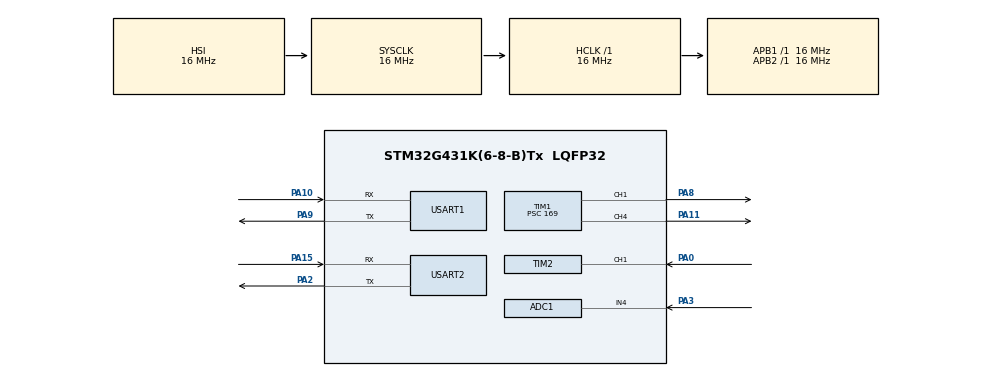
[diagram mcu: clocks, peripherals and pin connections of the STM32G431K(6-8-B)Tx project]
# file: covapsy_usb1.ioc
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ADC1.Channel-0\#ChannelRegularConversion=ADC_CHANNEL_4
ADC1.NbrOfConversionFlag=1
ADC1.OffsetNumber-0\#ChannelRegularConversion=ADC_OFFSET_NONE
ADC1.Rank-0\#ChannelRegularConversion=1
ADC1.SamplingTime-0\#ChannelRegularConversion=ADC_SAMPLETIME_2CYCLES_5
ADC1.master=1
Mcu.Family=STM32G4
Mcu.Name=STM32G431K(6-8-B)Tx
Mcu.Package=LQFP32
NVIC.PriorityGroup=NVIC_PRIORITYGROUP_4
PA0.Signal=S_TIM2_CH1
PA10.Mode=Asynchronous
PA10.Signal=USART1_RX
PA11.Signal=S_TIM1_CH4
PA13.Signal=SYS_JTMS-SWDIO
PA14.Signal=SYS_JTCK-SWCLK
PA15.Mode=Asynchronous
PA15.Signal=USART2_RX
PA2.Mode=Asynchronous
PA2.Signal=USART2_TX
PA3.Mode=IN4-Single-Ended
PA3.Signal=ADC1_IN4
PA8.Signal=S_TIM1_CH1
PA9.Mode=Asynchronous
PA9.Signal=USART1_TX
ProjectManager.HeapSize=0x200
ProjectManager.StackSize=0x400
ProjectManager.TargetToolchain=STM32CubeIDE
RCC.AHBFreq_Value=16000000
RCC.APB1Freq_Value=16000000
RCC.APB1TimFreq_Value=16000000
RCC.APB2Freq_Value=16000000
RCC.APB2TimFreq_Value=16000000
RCC.CortexFreq_Value=16000000
RCC.EXTERNAL_CLOCK_VALUE=12288000
RCC.HCLKFreq_Value=16000000
RCC.HSE_VALUE=8000000
RCC.HSI48_VALUE=48000000
RCC.HSI_VALUE=16000000
RCC.LSE_VALUE=32768
RCC.SYSCLKFreq_VALUE=16000000
RCC.USBFreq_Value=64000000
RCC.VCOOutputFreq_Value=128000000
SH.S_TIM1_CH1.0=TIM1_CH1,PWM Generation1 CH1
SH.S_TIM1_CH4.0=TIM1_CH4,PWM Generation4 CH4
SH.S_TIM2_CH1.0=TIM2_CH1,Input_Capture1_from_TI1
TIM1.Channel-PWM\ Generation1\ CH1=TIM_CHANNEL_1
TIM1.Channel-PWM\ Generation4\ CH4=TIM_CHANNEL_4
TIM1.PeriodNoDither=19999
TIM1.Prescaler=169
TIM1.PulseNoDither_1=1500
TIM1.PulseNoDither_4=1500
TIM2.Channel-Input_Capture1_from_TI1=TIM_CHANNEL_1
USART1.VirtualMode-Asynchronous=VM_ASYNC
USART2.VirtualMode-Asynchronous=VM_ASYNC
VP_SYS_VS_DBSignals.Mode=DisableDeadBatterySignals
VP_TIM1_VS_ClockSourceINT.Mode=Internal
VP_TIM2_VS_ClockSourceINT.Mode=Internal
board=custom

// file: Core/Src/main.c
/* USER CODE BEGIN Header */
/**
  ******************************************************************************
  * @file           : main.c
  * @brief          : Main program body
  ******************************************************************************
  * @attention
  *
  * Copyright (c) 2026 STMicroelectronics.
  * All rights reserved.
  *
  * This software is licensed under terms that can be found in the LICENSE file
  * in the root directory of this software component.
  * If no LICENSE file comes with this software, it is provided AS-IS.
  *
  ******************************************************************************
  */
/* USER CODE END Header */
#include "main.h"
#include "adc.h"
#include "tim.h"
#include "usart.h"
#include "gpio.h"

/* USER CODE BEGIN Includes */
#include "board_if.h"
#include "fw_app.h"
#include "fw_config.h"
/* USER CODE END Includes */

/* USER CODE BEGIN PV */
static fw_app_t app;
static char rx_line[FW_PROTOCOL_LINE_MAX] = {0};
static char tx_line[FW_PROTOCOL_LINE_MAX] = {0};
static fw_lcd_frame_t lcd_frame;
static fw_pwm_output_t pwm = {FW_PWM_PROP_STOP, FW_PWM_STEERING_CENTER};
static fw_telemetry_t telemetry = {0.0f, false, 0u};
static bool watchdog_forced_stop = false;
static bool lcd_seq_valid = false;
static uint32_t now_ms = 0u;
static uint32_t last_tx_ms = 0u;
static uint32_t last_lcd_seq = 0u;
/* USER CODE END PV */

void SystemClock_Config(void);

int main(void)
{

  /* MCU Configuration--------------------------------------------------------*/

  /* Reset of all peripherals, Initializes the Flash interface and the Systick. */
  HAL_Init();

  /* Configure the system clock */
  SystemClock_Config();

  /* Initialize all configured peripherals */
  MX_GPIO_Init();
  MX_ADC1_Init();
  MX_TIM1_Init();
  MX_TIM2_Init();
  MX_USART1_UART_Init();
  MX_USART2_UART_Init();
  /* USER CODE BEGIN 2 */
  Board_Init();
  Board_OledInit();
  now_ms = Board_Millis();
  last_tx_ms = now_ms;
  FwApp_Init(&app, now_ms);
  /* USER CODE END 2 */

  /* Infinite loop */
  while (1)
  {

    /* USER CODE BEGIN 3 */
    now_ms = Board_Millis();

    if (Board_UsbReadLine(rx_line, sizeof(rx_line)))
    {
      (void)FwApp_OnCommandLine(&app, rx_line, now_ms);
    }

    telemetry.wheel_speed_m_s = Board_ReadWheelSpeedMps();
    telemetry.rear_obstacle = Board_ReadRearObstacle();
    telemetry.flags = 0u;

    FwApp_BuildOutputs(
        &app,
        &telemetry,
        now_ms,
        &pwm,
        tx_line,
        sizeof(tx_line),
        &watchdog_forced_stop);

    Board_SetPropulsionDuty(pwm.propulsion_duty);
    Board_SetSteeringDuty(pwm.steering_duty);

    if ((now_ms - last_tx_ms) >= FW_TELEMETRY_PERIOD_MS)
    {
      Board_UsbWriteLine(tx_line);
      last_tx_ms = now_ms;
    }

    if (Board_OledIsReady() && FwApp_GetLatestLcdFrame(&app, &lcd_frame))
    {
      if (!lcd_seq_valid || lcd_frame.seq != last_lcd_seq)
      {
        Board_OledRenderLines(lcd_frame.lines);
        last_lcd_seq = lcd_frame.seq;
        lcd_seq_valid = true;
      }
    }

    if (watchdog_forced_stop)
    {
      Board_Log("watchdog:forced_stop");
    }

    Board_DelayMs(FW_CONTROL_LOOP_PERIOD_MS);
  }
  /* USER CODE END 3 */
}

void SystemClock_Config(void)
{
  RCC_OscInitTypeDef RCC_OscInitStruct = {0};
  RCC_ClkInitTypeDef RCC_ClkInitStruct = {0};

  /** Configure the main internal regulator output voltage
  */
  HAL_PWREx_ControlVoltageScaling(PWR_REGULATOR_VOLTAGE_SCALE1);

  /** Initializes the RCC Oscillators according to the specified parameters
  * in the RCC_OscInitTypeDef structure.
  */
  RCC_OscInitStruct.OscillatorType = RCC_OSCILLATORTYPE_HSI;
  RCC_OscInitStruct.HSIState = RCC_HSI_ON;
  RCC_OscInitStruct.HSICalibrationValue = RCC_HSICALIBRATION_DEFAULT;
  RCC_OscInitStruct.PLL.PLLState = RCC_PLL_NONE;
  if (HAL_RCC_OscConfig(&RCC_OscInitStruct) != HAL_OK)
  {
    Error_Handler();
  }

  /** Initializes the CPU, AHB and APB buses clocks
  */
  RCC_ClkInitStruct.ClockType = RCC_CLOCKTYPE_HCLK|RCC_CLOCKTYPE_SYSCLK
                              |RCC_CLOCKTYPE_PCLK1|RCC_CLOCKTYPE_PCLK2;
  RCC_ClkInitStruct.SYSCLKSource = RCC_SYSCLKSOURCE_HSI;
  RCC_ClkInitStruct.AHBCLKDivider = RCC_SYSCLK_DIV1;
  RCC_ClkInitStruct.APB1CLKDivider = RCC_HCLK_DIV1;
  RCC_ClkInitStruct.APB2CLKDivider = RCC_HCLK_DIV1;

  if (HAL_RCC_ClockConfig(&RCC_ClkInitStruct, FLASH_LATENCY_0) != HAL_OK)
  {
    Error_Handler();
  }
}

void Error_Handler(void)
{
  __disable_irq();
  while (1)
  {
  }
}
